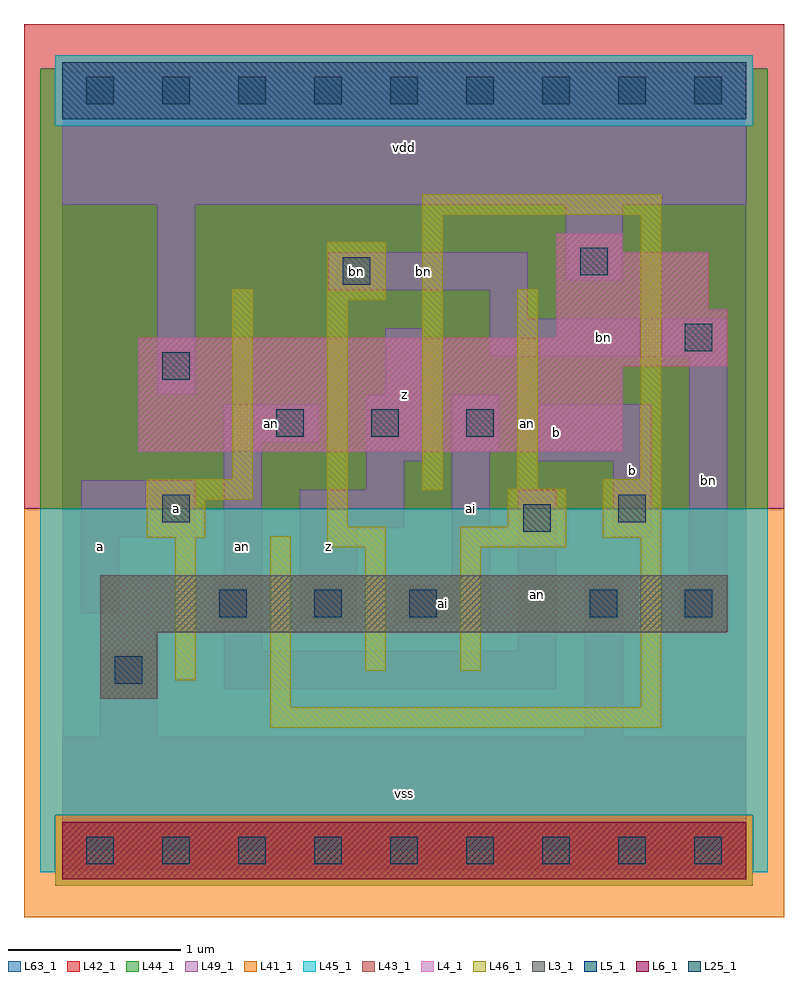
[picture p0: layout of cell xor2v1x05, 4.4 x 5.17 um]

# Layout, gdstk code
import gdstk
lib = gdstk.Library(unit=1e-6, precision=1e-09)
def R(c, l, rs):  # rectangles x0, y0, x1, y1
    for r in rs: c.add(gdstk.rectangle(r[:2], r[2:], *l))
def A(c, l, x, y, w, h, nx, ny, dx, dy):  # array of equal rectangles
    R(c, l, [(x+i*dx, y+j*dy, x+i*dx+w, y+j*dy+h) for i in range(nx) for j in range(ny)])
L3_1 = (3, 1)
L4_1 = (4, 1)
L5_1 = (5, 1)
L6_1 = (6, 1)
L25_1 = (25, 1)
L41_1 = (41, 1)
L42_1 = (42, 1)
L43_1 = (43, 1)
L44_1 = (44, 1)
L45_1 = (45, 1)
L46_1 = (46, 1)
L49_1 = (49, 1)
L63_1 = (63, 1)

xor2v1x05 = lib.new_cell('xor2v1x05')
R(xor2v1x05, L3_1, [(0.22,0.88,0.55,1.265), (0.22,1.265,3.85,1.595)])
R(xor2v1x05, L4_1, [(0.44,2.31,3.245,2.805), (0.44,2.805,3.85,2.97), (2.86,2.97,3.85,3.135), (2.86,3.135,3.74,3.465), (2.86,3.465,3.245,3.575)])
R(xor2v1x05, L5_1, [(0,4.235,3.96,4.565)])
R(xor2v1x05, L6_1, [(0,-0.165,3.96,0.165)])
A(xor2v1x05, L25_1, 0.14, -0.08, 0.16, 0.16, 9, 2, 0.44, 4.4)
A(xor2v1x05, L25_1, 0.91, 1.35, 0.16, 0.16, 3, 1, 0.55, 0)
A(xor2v1x05, L25_1, 1.24, 2.395, 0.16, 0.16, 3, 1, 0.55, 0)
R(xor2v1x05, L25_1, [(0.305,0.965,0.465,1.125), (3.055,1.35,3.215,1.51), (3.605,1.35,3.765,1.51), (2.67,1.845,2.83,2.005), (0.58,1.9,0.74,2.06), (3.22,1.9,3.38,2.06), (0.58,2.725,0.74,2.885), (3.605,2.89,3.765,3.05), (1.625,3.275,1.785,3.435), (3,3.33,3.16,3.49)])
R(xor2v1x05, L41_1, [(-0.22,-0.385,4.18,1.98)])
R(xor2v1x05, L42_1, [(-0.22,1.98,4.18,4.785)])
R(xor2v1x05, L43_1, [(0,-0.165,3.96,0.165), (0.22,0.88,0.55,1.265), (0.22,1.265,3.85,1.595), (0.44,2.31,3.245,2.805), (0.44,2.805,3.85,2.97), (2.86,2.97,3.85,3.135), (2.86,3.135,3.74,3.465), (2.86,3.465,3.245,3.575), (0,4.235,3.96,4.565)])
R(xor2v1x05, L44_1, [(-0.04,-0.205,4,0.205), (-0.125,1.98,4.085,4.195), (-0.125,4.195,-0.04,4.525), (4,4.195,4.085,4.525)])
R(xor2v1x05, L45_1, [(-0.125,-0.125,-0.04,0.205), (4,-0.125,4.085,0.205), (-0.125,0.205,4.085,1.98), (-0.04,4.195,4,4.605)])
R(xor2v1x05, L46_1, [(1.205,0.71,3.47,0.83), (1.205,0.83,1.325,1.82), (3.35,0.83,3.47,1.81), (0.655,0.985,0.775,1.81), (1.755,1.04,1.875,1.755), (2.305,1.04,2.425,1.755), (1.535,1.755,1.875,1.875), (2.305,1.755,2.92,1.875), (0.49,1.81,0.83,2.03), (3.13,1.81,3.47,2.15), (1.535,1.875,1.655,3.185), (2.58,1.875,2.92,2.095), (0.49,2.03,1.105,2.15), (2.085,2.085,2.205,3.68), (2.635,2.095,2.755,3.25), (0.985,2.15,1.105,3.25), (3.35,2.15,3.47,3.68), (1.535,3.185,1.875,3.525), (2.085,3.68,3.47,3.8)])
R(xor2v1x05, L49_1, [(0,-0.11,3.96,0.66), (0.22,0.66,0.55,1.155), (3.025,0.66,3.245,1.595), (0.935,0.935,2.86,1.155), (0.935,1.155,1.155,1.265), (2.64,1.155,2.86,2.09), (0.88,1.265,1.155,1.595), (3.575,1.265,3.85,1.595), (1.375,1.32,1.705,1.87), (1.925,1.32,2.475,1.54), (0.11,1.375,0.33,1.815), (2.255,1.54,2.475,2.31), (0.935,1.595,1.155,2.365), (3.63,1.595,3.85,2.86), (0.11,1.815,0.77,2.145), (3.19,1.815,3.41,2.255), (1.375,1.87,1.98,2.09), (1.76,2.09,1.98,2.255), (1.76,2.255,2.09,2.64), (2.75,2.255,3.41,2.585), (2.255,2.31,2.53,2.64), (0.935,2.365,1.485,2.585), (0.55,2.64,0.77,3.74), (1.87,2.64,2.09,3.025), (2.475,2.86,3.85,3.08), (2.475,3.08,2.695,3.245), (1.54,3.245,2.695,3.465), (2.915,3.3,3.245,3.74), (0,3.74,3.96,4.51)])
R(xor2v1x05, L63_1, [(0,0,3.96,4.4)])
xor2v1x05.add(gdstk.Label('bn', (1.705,3.355), layer=49, texttype=1))
xor2v1x05.add(gdstk.Label('an', (2.695,2.475), layer=46, texttype=1))
xor2v1x05.add(gdstk.Label('a', (0.22,1.76), layer=49, texttype=1))
xor2v1x05.add(gdstk.Label('an', (1.045,1.76), layer=49, texttype=1))
xor2v1x05.add(gdstk.Label('a', (0.66,1.98), layer=49, texttype=1))
xor2v1x05.add(gdstk.Label('an', (1.21,2.475), layer=49, texttype=1))
xor2v1x05.add(gdstk.Label('vss', (1.98,0.33), layer=49, texttype=1))
xor2v1x05.add(gdstk.Label('z', (1.54,1.76), layer=49, texttype=1))
xor2v1x05.add(gdstk.Label('z', (1.98,2.64), layer=49, texttype=1))
xor2v1x05.add(gdstk.Label('vdd', (1.98,4.07), layer=49, texttype=1))
xor2v1x05.add(gdstk.Label('ai', (2.2,1.43), layer=49, texttype=1))
xor2v1x05.add(gdstk.Label('an', (2.75,1.485), layer=49, texttype=1))
xor2v1x05.add(gdstk.Label('b', (2.86,2.42), layer=49, texttype=1))
xor2v1x05.add(gdstk.Label('ai', (2.365,1.98), layer=49, texttype=1))
xor2v1x05.add(gdstk.Label('bn', (2.09,3.355), layer=49, texttype=1))
xor2v1x05.add(gdstk.Label('b', (3.3,2.2), layer=49, texttype=1))
xor2v1x05.add(gdstk.Label('bn', (3.74,2.145), layer=49, texttype=1))
xor2v1x05.add(gdstk.Label('bn', (3.135,2.97), layer=49, texttype=1))

lib.write_gds('xor2v1x05.gds')
